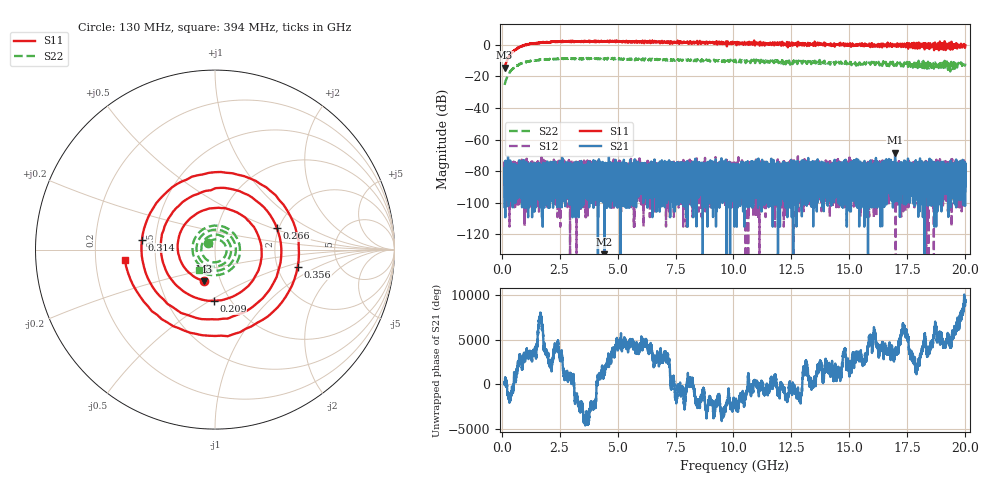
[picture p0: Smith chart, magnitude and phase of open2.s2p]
!Created with skrf (http://scikit-rf.org).
# GHz S RI R 50.0
!freq ReS11 ImS11 ReS21 ImS21 ReS12 ImS12 ReS22 ImS22
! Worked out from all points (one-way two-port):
!   20013 points, 130 MHz to 20 GHz, reference 50 ohm
!   highest |S21| = -68.21 dB at 16.97 GHz (marker M1); lowest = -178.5 dB at 4.433 GHz (marker M2)
!   lowest |S11| = -14.7 dB at 130 MHz (marker M3), VSWR 1.45, Z = 42 - j15.2 ohm
!   |S11| at or under -10 dB: start of sweep to 240 MHz
!   |S22| runs from -25.5 to -8.4 dB; largest |S21 - S12| = 0.00041
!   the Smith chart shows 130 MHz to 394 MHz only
!   S11 on the Smith chart (normalised r, x): 130 MHz: 0.84, -0.30; 209 MHz: 0.84, -0.52; 266 MHz: 1.96, +0.53; 314 MHz: 0.42, +0.06; 356 MHz: 2.60, -0.63; 394 MHz: 0.33, -0.05
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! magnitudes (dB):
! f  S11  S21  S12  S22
! 130 MHz  -14.7  -78.4  -76.4  -25.5
! 209 MHz  -10.9  -89.1  -86.5  -21.7
! 266 MHz  -8.8  -80.5  -101.1  -19.6
! 314 MHz  -7.7  -79.1  -87.3  -18.6
! 356 MHz  -6.6  -84.2  -85.0  -17.3
! 394 MHz  -5.9  -84.5  -80.8  -16.7
! 769 MHz  -1.5  -78.2  -75.9  -12.3
! 1.298 GHz  0.7  -82.3  -88.9  -10.1
! 2.218 GHz  2.1  -79.4  -76.1  -9.1
! 3.442 GHz  2.1  -82.0  -82.6  -9.3
! 4.433 GHz  1.9  -178.5  -93.5  -9.2
! 6.754 GHz  1.9  -77.5  -81.6  -9.6
! 10.06 GHz  1.3  -83.0  -82.3  -9.8
! 13.38 GHz  -0.1  -85.3  -85.3  -11.6
! 16.69 GHz  -0.9  -87.6  -82.3  -12.2
! 16.97 GHz  0.2  -68.2  -75.6  -11.4
! 18.49 GHz  0.3  -80.6  -79.0  -12.2
! 18.95 GHz  -2.7  -87.1  -85.5  -14.5
! 19.4 GHz  1.7  -78.0  -85.7  -11.5
! 19.54 GHz  -1.5  -79.8  -88.1  -15.3
! 19.71 GHz  -1.2  -82.1  -90.9  -11.6
! 20 GHz  -0.5  -78.3  -79.9  -12.0
